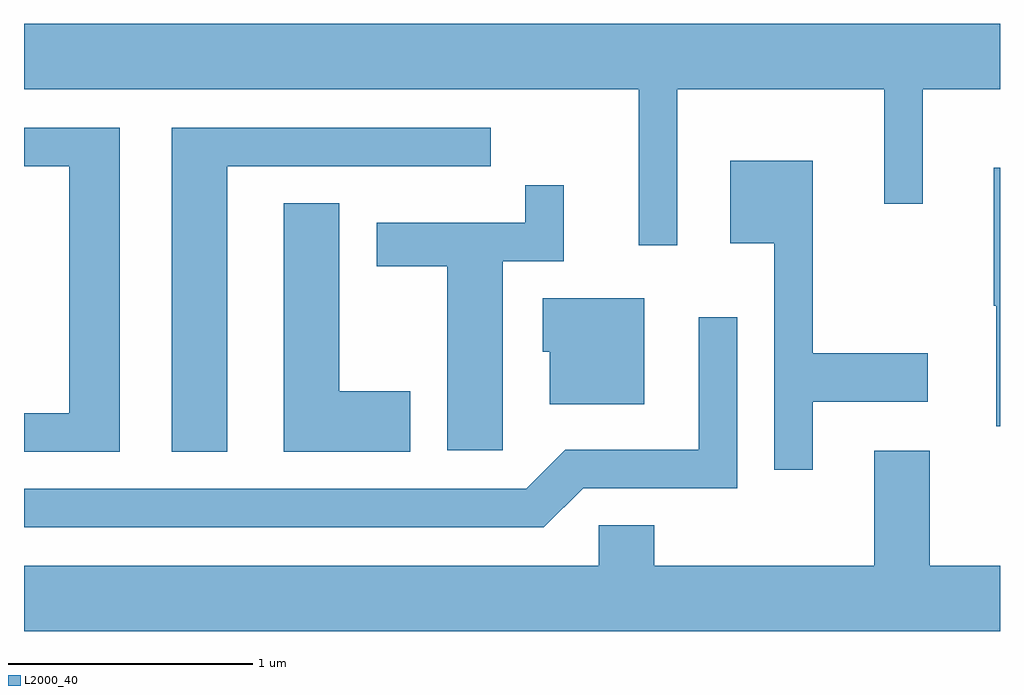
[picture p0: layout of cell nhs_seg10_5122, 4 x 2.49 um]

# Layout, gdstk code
import gdstk
lib = gdstk.Library(unit=1e-6, precision=1e-09)
def P(c, l, *ps):  # polygons
    for p in ps: c.add(gdstk.Polygon(p, *l))
L2000_40 = (2000, 40)

nhs_seg10_5122 = lib.new_cell('nhs_seg10_5122')
P(nhs_seg10_5122, L2000_40, [(338.289,2173.856),(339.136,2173.856),(339.136,2173.388),(339.294,2173.388),(339.294,2173.856),(339.611,2173.856),(339.611,2174.124),(335.611,2174.124),(335.611,2173.856),(338.131,2173.856),(338.131,2173.218),(338.289,2173.218)],
  [(336.004,2173.699),(335.611,2173.699),(335.611,2173.541),(335.796,2173.541),(335.796,2172.529),(335.611,2172.529),(335.611,2172.371),(336.004,2172.371)],
  [(336.444,2173.541),(337.523,2173.541),(337.523,2173.699),(336.216,2173.699),(336.216,2172.371),(336.444,2172.371)],
  [(338.844,2172.576),(339.314,2172.576),(339.314,2172.774),(338.844,2172.774),(338.844,2173.564),(338.506,2173.564),(338.506,2173.226),(338.686,2173.226),(338.686,2172.298),(338.844,2172.298)],
  [(339.611,2173.534),(339.586,2173.534),(339.586,2172.97),(339.596,2172.97),(339.596,2172.476),(339.611,2172.476)],
  [(337.574,2173.151),(337.824,2173.151),(337.824,2173.463),(337.666,2173.463),(337.666,2173.309),(337.056,2173.309),(337.056,2173.131),(337.346,2173.131),(337.346,2172.376),(337.574,2172.376)],
  [(337.194,2172.619),(336.904,2172.619),(336.904,2173.389),(336.676,2173.389),(336.676,2172.371),(337.194,2172.371)],
  [(338.154,2172.999),(337.736,2172.999),(337.736,2172.781),(337.766,2172.781),(337.766,2172.566),(338.154,2172.566)],
  [(337.902,2172.221),(338.534,2172.221),(338.534,2172.923),(338.376,2172.923),(338.376,2172.379),(337.829,2172.379),(337.669,2172.219),(335.611,2172.219),(335.611,2172.061),(337.742,2172.061)],
  [(339.611,2171.904),(339.324,2171.904),(339.324,2172.374),(339.096,2172.374),(339.096,2171.904),(338.194,2171.904),(338.194,2172.069),(337.966,2172.069),(337.966,2171.904),(335.611,2171.904),(335.611,2171.636),(339.611,2171.636)])

lib.write_gds('nhs_seg10_5122.gds')
